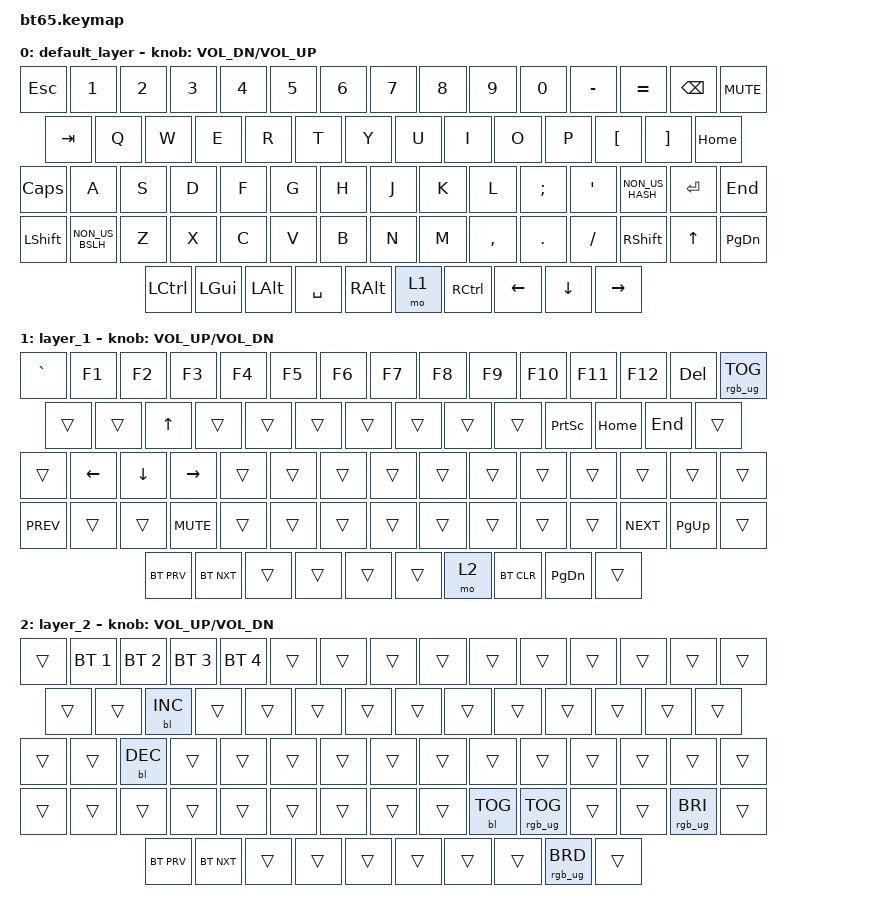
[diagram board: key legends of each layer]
#include <behaviors.dtsi>
#include <dt-bindings/zmk/keys.h>
#include <dt-bindings/zmk/bt.h>
#include <dt-bindings/zmk/rgb.h>
#include <dt-bindings/zmk/backlight.h>
#include <dt-bindings/zmk/ext_power.h>


/ {
	keymap {
		compatible = "zmk,keymap";

		default_layer {
				// ------------------------------------------------------------------------------------------------------------
				// |  `  |  1  |  2  |  3  |  4  |  5  |  6  |  7  |  8  |  9  |  0  |  -  |  =  |BKSP | INS		|
				// | TAB  |  Q  |  W  |  E  |  R  |  T  |  Y  |  U  |  I  |  O  |  P  |  [  |  ]  |   \    | DEL		|
				// | CAPS  |  A  |  S  |  D  |  F  |  G  |  H  |  J  |  K  |  L  |  ;  |  '  |     ENTER    |PGUP	|
				// |  SHIFT  |  Z  |  X  |  C  |  V  |  B  |  N  |  M  |  ,  |  .  | /   |   SHIFT  | UP   | PGDN|
				// |  CTL  |  WIN  |  ALT  |            SPACE               | ALT | 1    |  MENU| LEFT |  DOWN    | RIGHT	|
				// ------------------------------------------------------------------------------------------------------------
			bindings = <

				&kp ESC &kp N1 &kp N2 &kp N3 &kp N4 &kp N5 &kp N6 &kp N7 &kp  N8   &kp  N9   &kp N0 &kp MINUS &kp EQUAL &kp BKSP &kp C_MUTE
				&kp TAB  &kp Q  &kp W  &kp E  &kp R  &kp T  &kp Y  &kp U  &kp  I    &kp  O  &kp  P   &kp LBKT &kp RBKT  	 &kp HOME
				&kp CLCK  &kp A  &kp S  &kp D  &kp F  &kp G  &kp H  &kp J  &kp  K    &kp  L  &kp SEMI &kp SQT &kp NON_US_HASH 	&kp RET &kp END
				&kp LSHFT &kp NON_US_BSLH &kp Z  &kp X  &kp C  &kp V  &kp B  &kp N  &kp M  &kp COMMA &kp DOT &kp FSLH   &kp RSHFT &kp UP &kp PG_DN
				&kp LCTRL &kp LGUI &kp LALT            &kp SPACE                          &kp RALT  &mo 1 &kp RCTRL &kp LEFT &kp DOWN &kp RIGHT
			>;
			sensor-bindings = <&inc_dec_kp C_VOL_DN C_VOL_UP>;
		};
		layer_1 {
			bindings = <
				&kp GRAVE &kp F1 &kp F2 &kp F3 &kp F4 &kp F5 &kp F6 &kp F7 &kp  F8   &kp  F9   &kp F10  &kp F11 &kp F12 &kp DEL &rgb_ug RGB_TOG
				&trans &trans &kp UP &trans &trans &trans &trans &trans &trans &trans &kp PSCRN &kp HOME &kp END &trans
				&trans    &kp LEFT &kp DOWN &kp RIGHT &trans &trans &trans &trans &trans &trans &trans  &trans &trans  &trans &trans
				&kp C_PREV &trans &trans &kp C_MUTE &trans &trans &trans &trans &trans &trans &trans &trans  &kp C_NEXT &kp PG_UP &trans
				&bt BT_PRV &bt BT_NXT  &trans              &trans                            &trans   &trans   &mo 2 &bt BT_CLR &kp PG_DN &trans
			>;
			sensor-bindings = <&inc_dec_kp C_VOL_UP C_VOL_DN>;
		};
                layer_2 {
			bindings = <
				&trans &bt BT_SEL 1 &bt BT_SEL 2 &bt BT_SEL 3 &bt BT_SEL 4 &trans &trans &trans &trans &trans &trans &trans &trans &trans &trans
				&trans &trans &bl BL_INC &trans &trans &trans &trans &trans &trans &trans &trans &trans &trans &trans
				&trans &trans &bl BL_DEC &trans &trans &trans &trans &trans &trans &trans &trans  &trans &trans  &trans &trans
				&trans &trans &trans &trans &trans &trans &trans &trans &trans &bl BL_TOG &rgb_ug RGB_TOG &trans &trans &rgb_ug RGB_BRI &trans
				&bt BT_PRV &bt BT_NXT  &trans              &trans                            &trans   &trans   &trans &trans &rgb_ug RGB_BRD &trans
			>;
			sensor-bindings = <&inc_dec_kp C_VOL_UP C_VOL_DN>;
		};
	};
};
